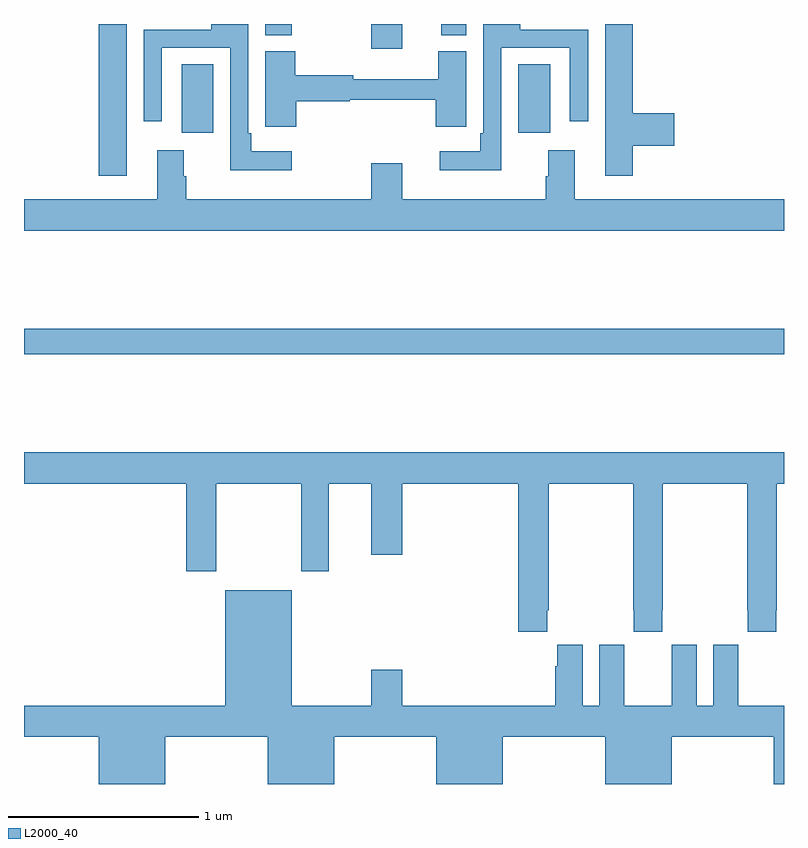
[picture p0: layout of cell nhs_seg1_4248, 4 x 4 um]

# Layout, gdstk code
import gdstk
lib = gdstk.Library(unit=1e-6, precision=1e-09)
def R(c, l, rs):  # rectangles x0, y0, x1, y1
    for r in rs: c.add(gdstk.rectangle(r[:2], r[2:], *l))
def P(c, l, *ps):  # polygons
    for p in ps: c.add(gdstk.Polygon(p, *l))
L2000_40 = (2000, 40)

nhs_seg1_4248 = lib.new_cell('nhs_seg1_4248')
R(nhs_seg1_4248, L2000_40, [(343,504.46,347,504.596), (343.394,505.401,343.54,506.199), (343.829,505.626,343.996,505.988), (345.602,505.626,345.769,505.988), (344.828,506.07,344.992,506.199), (344.27,506.14,344.409,506.199), (345.197,506.14,345.328,506.199)])
P(nhs_seg1_4248, L2000_40, [(345.513,506.073),(345.873,506.073),(345.873,505.686),(345.969,505.686),(345.969,506.169),(345.613,506.169),(345.613,506.199),(345.417,506.199),(345.417,505.624),(345.401,505.624),(345.401,505.528),(345.189,505.528),(345.189,505.43),(345.513,505.43)],
  [(344.41,505.528),(344.197,505.528),(344.197,505.624),(344.181,505.624),(344.181,506.199),(343.985,506.199),(343.985,506.169),(343.629,506.169),(343.629,505.686),(343.725,505.686),(343.725,506.073),(344.085,506.073),(344.085,505.43),(344.41,505.43)],
  [(346.205,505.559),(346.423,505.559),(346.423,505.73),(346.205,505.73),(346.205,506.199),(346.058,506.199),(346.058,505.401),(346.205,505.401)],
  [(344.432,505.792),(344.715,505.792),(344.715,505.8),(345.167,505.8),(345.167,505.659),(345.327,505.659),(345.327,505.771),(345.328,505.771),(345.328,506.055),(345.179,506.055),(345.179,505.909),(344.732,505.909),(344.732,505.928),(344.427,505.928),(344.427,506.055),(344.27,506.055),(344.27,505.771),(344.271,505.771),(344.271,505.659),(344.432,505.659)],
  [(347,505.276),(345.898,505.276),(345.898,505.534),(345.758,505.534),(345.758,505.397),(345.746,505.397),(345.746,505.276),(344.992,505.276),(344.992,505.465),(344.828,505.465),(344.828,505.276),(343.853,505.276),(343.853,505.397),(343.84,505.397),(343.84,505.534),(343.7,505.534),(343.7,505.276),(343,505.276),(343,505.112),(347,505.112)],
  [(345.755,503.113),(345.762,503.113),(345.762,503.78),(346.207,503.78),(346.207,503.113),(346.209,503.113),(346.209,503.001),(346.359,503.001),(346.359,503.113),(346.362,503.113),(346.362,503.78),(346.807,503.78),(346.807,503.113),(346.809,503.113),(346.809,503.001),(346.959,503.001),(346.959,503.113),(346.962,503.113),(346.962,503.78),(347,503.78),(347,503.944),(343,503.944),(343,503.78),(343.853,503.78),(343.853,503.319),(344.013,503.319),(344.013,503.78),(344.458,503.78),(344.458,503.319),(344.605,503.319),(344.605,503.78),(344.828,503.78),(344.828,503.406),(344.992,503.406),(344.992,503.78),(345.602,503.78),(345.602,503.001),(345.755,503.001)],
  [(343.744,502.448),(344.282,502.448),(344.282,502.199),(344.632,502.199),(344.632,502.448),(345.17,502.448),(345.17,502.199),(345.52,502.199),(345.52,502.448),(346.058,502.448),(346.058,502.199),(346.408,502.199),(346.408,502.448),(346.946,502.448),(346.946,502.199),(347,502.199),(347,502.612),(346.759,502.612),(346.759,502.82),(346.758,502.82),(346.758,502.933),(346.628,502.933),(346.628,502.612),(346.54,502.612),(346.54,502.933),(346.41,502.933),(346.41,502.82),(346.409,502.82),(346.409,502.612),(346.159,502.612),(346.159,502.82),(346.158,502.82),(346.158,502.933),(346.028,502.933),(346.028,502.612),(345.94,502.612),(345.94,502.933),(345.806,502.933),(345.806,502.82),(345.797,502.82),(345.797,502.612),(344.992,502.612),(344.992,502.801),(344.828,502.801),(344.828,502.612),(344.41,502.612),(344.41,503.218),(344.06,503.218),(344.06,502.612),(343,502.612),(343,502.448),(343.394,502.448),(343.394,502.199),(343.744,502.199)])

lib.write_gds('nhs_seg1_4248.gds')
